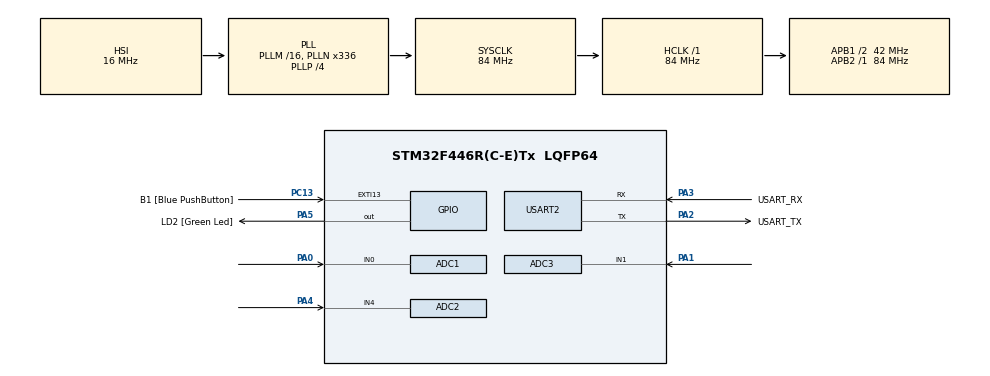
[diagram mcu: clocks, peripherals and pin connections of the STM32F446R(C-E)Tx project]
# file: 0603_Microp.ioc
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Mcu.Family=STM32F4
PH0-OSC_IN.Signal=RCC_OSC_IN
RCC.CortexFreq_Value=84000000
ADC2.Channel-0\#ChannelRegularConversion=ADC_CHANNEL_4
PA14.GPIO_Label=TCK
PC13.GPIO_Label=B1 [Blue PushButton]
ADC3.Channel-0\#ChannelRegularConversion=ADC_CHANNEL_1
RCC.SYSCLKSource=RCC_SYSCLKSOURCE_PLLCLK
ProjectManager.StackSize=0x400
RCC.HCLKFreq_Value=84000000
RCC.APB2TimFreq_Value=84000000
RCC.AHBFreq_Value=84000000
PH0-OSC_IN.Mode=HSE-External-Oscillator
NVIC.EXTI15_10_IRQn=true\:0\:0\:false\:false\:true\:true\:true
ADC1.Channel-0\#ChannelRegularConversion=ADC_CHANNEL_0
RCC.HSE_VALUE=8000000
EdgeImpulse.accelerometer.1.0.12.MachineLearningCcaccelerometerJjCore=true
PC14-OSC32_IN.Mode=LSE-External-Oscillator
PA14.Mode=Serial_Wire
SH.ADCx_IN0.0=ADC1_IN0,IN0
ADC1.SamplingTime-0\#ChannelRegularConversion=ADC_SAMPLETIME_3CYCLES
RCC.FLatency-AdvancedSettings=FLASH_LATENCY_2
PH1-OSC_OUT.Mode=HSE-External-Oscillator
Mcu.Package=LQFP64
USART2.VirtualMode=VM_ASYNC
PA2.GPIO_Label=USART_TX
ADC3.Rank-0\#ChannelRegularConversion=1
ADC2.SamplingTime-0\#ChannelRegularConversion=ADC_SAMPLETIME_3CYCLES
SH.ADCx_IN1.0=ADC3_IN1,IN1
RCC.APB1TimFreq_Value=84000000
ADC2.Rank-0\#ChannelRegularConversion=1
PA3.Signal=USART2_RX
PB3.GPIO_Label=SWO
PC15-OSC32_OUT.Mode=LSE-External-Oscillator
ADC1.Rank-0\#ChannelRegularConversion=1
PC13.Signal=GPXTI13
RCC.APB1CLKDivider=RCC_HCLK_DIV2
PC14-OSC32_IN.Signal=RCC_OSC32_IN
PA0-WKUP.Signal=ADCx_IN0
PA13.Signal=SYS_JTMS-SWDIO
PA3.Mode=Asynchronous
ADC3.SamplingTime-0\#ChannelRegularConversion=ADC_SAMPLETIME_3CYCLES
ProjectManager.TargetToolchain=STM32CubeIDE
RCC.USBFreq_Value=168000000
PC15-OSC32_OUT.Signal=RCC_OSC32_OUT
PA1.Signal=ADCx_IN1
PA5.Signal=GPIO_Output
board=NUCLEO-F446RE
RCC.VCOOutputFreq_Value=336000000
RCC.APB2Freq_Value=84000000
PH1-OSC_OUT.Signal=RCC_OSC_OUT
SH.ADCx_IN4.0=ADC2_IN4,IN4
PA13.Mode=Serial_Wire
Mcu.Name=STM32F446R(C-E)Tx
PA13.GPIO_Label=TMS
PA2.Signal=USART2_TX
RCC.48MHZClocksFreq_Value=84000000
PB3.Signal=SYS_JTDO-SWO
PA4.Signal=ADCx_IN4
RCC.SYSCLKFreq_VALUE=84000000
ADC1.master=1
PA5.GPIO_Label=LD2 [Green Led]
ADC2.NbrOfConversionFlag=1
PC13.GPIO_ModeDefaultEXTI=GPIO_MODE_IT_FALLING
PA14.Signal=SYS_JTCK-SWCLK
ProjectManager.HeapSize=0x200
RCC.HSI_VALUE=16000000
RCC.PLLP=RCC_PLLP_DIV4
NVIC.PriorityGroup=NVIC_PRIORITYGROUP_0
ADC1.NbrOfConversionFlag=1
RCC.PLLN=336
PA2.Mode=Asynchronous
VP_EdgeImpulse.accelerometer_VS_accelerometerJjMachineLearning_1.0.12_1.0.12.Mode=accelerometerJjMachineLearning
RCC.APB1Freq_Value=42000000
ADC3.NbrOfConversionFlag=1
VP_CRC_VS_CRC.Mode=CRC_Activate
PA3.GPIO_Label=USART_RX

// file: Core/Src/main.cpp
/* USER CODE BEGIN Header */
/**
  ******************************************************************************
  * @file           : main.c
  * @brief          : Main program body
  ******************************************************************************
  * @attention
  *
  * <h2><center>&copy; Copyright (c) 2021 STMicroelectronics.
  * All rights reserved.</center></h2>
  *
  * This software component is licensed by ST under BSD 3-Clause license,
  * the "License"; You may not use this file except in compliance with the
  * License. You may obtain a copy of the License at:
  *                        opensource.org/licenses/BSD-3-Clause
  *
  ******************************************************************************
  */
/* USER CODE END Header */
#include "main.h"

/* USER CODE BEGIN Includes */
#include <stdio.h>
#include <string.h>
#include <stdarg.h>
#include "edge-impulse-sdk/classifier/ei_run_classifier.h"

using namespace ei;

static float features[33] = {0}; //declare feature container[0:32] to store rawX,rawY,rawZ

int get_feature_data(size_t offset, size_t length, float *out_ptr) {
    memcpy(out_ptr, features + offset, length * sizeof(float)); //out_ptr is destination, feature+offset is source, size
    return 0;
}
/* USER CODE END Includes */

ADC_HandleTypeDef hadc1;
ADC_HandleTypeDef hadc2;
ADC_HandleTypeDef hadc3;

CRC_HandleTypeDef hcrc;

UART_HandleTypeDef huart2;

void SystemClock_Config(void);
static void MX_GPIO_Init(void);
static void MX_USART2_UART_Init(void);
static void MX_ADC1_Init(void);
static void MX_ADC2_Init(void);
static void MX_ADC3_Init(void);
static void MX_CRC_Init(void);

/* USER CODE BEGIN 0 */
void vprint(const char *fmt, va_list argp)
{
    char string[200];
    if(0 < vsprintf(string, fmt, argp)) // build string
    {
        HAL_UART_Transmit(&huart2, (uint8_t*)string, strlen(string), 0xffffff); // send message via UART
    }
}

void ei_printf(const char *format, ...) {
    va_list myargs;
    va_start(myargs, format);
    vprint(format, myargs);
    va_end(myargs);
}
/* USER CODE END 0 */

int main(void)
{
  /* USER CODE BEGIN 1 */
	char msg[100]; //to store message to be transfered through UART
	float rawX, rawY, rawZ; //3 axis raw data
  /* USER CODE END 1 */

  /* MCU Configuration--------------------------------------------------------*/

  /* Reset of all peripherals, Initializes the Flash interface and the Systick. */
  HAL_Init();

  /* USER CODE BEGIN Init */
  signal_t signal; //construct a struc signal_t
  signal.total_length = sizeof(features) / sizeof(features[0]); //feature length
  signal.get_data = &get_feature_data;
  /* USER CODE END Init */

  /* Configure the system clock */
  SystemClock_Config();

  /* Initialize all configured peripherals */
  MX_GPIO_Init();
  MX_USART2_UART_Init();
  MX_ADC1_Init();
  MX_ADC2_Init();
  MX_ADC3_Init();
  MX_CRC_Init();

  /* Infinite loop */
  while (1)
  {

    /* USER CODE BEGIN 3 */
///*
	    int i; //features[i] iterator
	  	char highest_cat[100]=""; //store the name of highest confidence class name
	  	float highest=0;  //store highest confidence class's score

	  	if (HAL_GPIO_ReadPin(GPIOA,GPIO_PIN_5)==GPIO_PIN_RESET){ //check user want to perform inferencing
	  	  	for(i=0; i<33;i+=3){ //collect features[0:32] through ADC if user wan to perform inferencing

	  	  	  	  			//Get ADC value
	  	  	  	  	  		HAL_ADC_Start(&hadc1);
	  	  	  	  	  		HAL_ADC_Start(&hadc3);
	  	  	  	  	  		HAL_ADC_Start(&hadc2);
	  	  	  	  	  		HAL_ADC_PollForConversion(&hadc1, HAL_MAX_DELAY);
	  	  	  	  	  		HAL_ADC_PollForConversion(&hadc3, HAL_MAX_DELAY);
	  	  	  	  	  		HAL_ADC_PollForConversion(&hadc2, HAL_MAX_DELAY);
	  	  	  	  	  		rawX = HAL_ADC_GetValue(&hadc1);
	  	  	  	  	  		rawY = HAL_ADC_GetValue(&hadc3);
	  	  	  	  	  		rawZ = HAL_ADC_GetValue(&hadc2);

	  	  	  	  	  		features[i]= rawX;
	  	  	  	  	  		features[i+1]= rawY;
	  	  	  	  	  		features[i+2]= rawZ;
	  	  	  	  	  		HAL_Delay(90.91); // 11Hz similar as frenquency of train data

	  	  	 }//end collecting raw data

	  	   ei_impulse_result_t result = { 0 }; //typedef is create aliase for cretain command; while  #if is determine this code will be compile if A is declared in #define eg: #ifdef A
	  	  	  	        EI_IMPULSE_ERROR res = run_classifier(&signal, &result, true);
//*/
	  	   /* Debug usage:
	  	   ei_printf("run_classifier returned: %d\n", res); //return 0 if no error?

	  	   ei_printf("Predictions (DSP: %d ms., Classification: %d ms., Anomaly: %d ms.): \n",
	  	       result.timing.dsp, result.timing.classification, result.timing.anomaly);

	  	  	// print the predictions
	  	  	//ei_printf("[");
	  	  	*/
///*
	  	  	for (size_t ix = 0; ix < EI_CLASSIFIER_LABEL_COUNT; ix++) { //size_t = maximum size container allocation; while it loop each classes

	  	  	//ei_printf_float(result.classification[ix].value); //confidente % , result class store all answer
	  	  	if (result.classification[ix].value>highest) { //get the highest confidence score and class name
	  	  	  	strcpy(highest_cat,result.classification[ix].label);
	  	  	  	highest=result.classification[ix].value;
	  	  	    //sprintf(msg, "\n\n Updated Result is\t\t%s\t\t\t\n",highest_cat);
	  	  	}

	  	  	#if EI_CLASSIFIER_HAS_ANOMALY == 1
	  	  	        //ei_printf(", ");
	  	  	#else
	  	  	        if (ix != EI_CLASSIFIER_LABEL_COUNT - 1) {
	  	  	              ei_printf(", ");
	  	  	        }
	  	  	#endif
	  	  	 	        }
	  	  	#if EI_CLASSIFIER_HAS_ANOMALY == 1
	  	  	       //ei_printf_float(result.anomaly);
	  	  	#endif
	  	  	       //ei_printf("]\n\n\n");

	  	  	//User LCD output result
	  	  	sprintf(msg, "\n\n\n\n\n ===================================================================================\n");
	  	  	HAL_UART_Transmit(&huart2, (uint8_t*)msg, strlen(msg), HAL_MAX_DELAY);
	  	  	sprintf(msg, "\n\n I am expressing:\t\t%s\t\t\t\n",highest_cat);
	  	  	HAL_UART_Transmit(&huart2, (uint8_t*)msg, strlen(msg), HAL_MAX_DELAY);
	  	  	sprintf(msg, "\n\n ===================================================================================\n");
	  	  	HAL_UART_Transmit(&huart2, (uint8_t*)msg, strlen(msg), HAL_MAX_DELAY);
	  	  	HAL_GPIO_WritePin(GPIOA,GPIO_PIN_5,GPIO_PIN_RESET);
	  	  	}

	  	  else { //if user do not wan to preform inferencing
	  	  	 sprintf(msg, "\n\n Press blue button and start your expression\n\n");
	  	  	 HAL_UART_Transmit(&huart2, (uint8_t*)msg, strlen(msg), HAL_MAX_DELAY);
	  	  	 }

	  	HAL_Delay(3000); //auto check in next 3s
//*/
/*
	  	  	  // For edge-impulse-data-forwarder train data purpose

	  	  	  	  		//Get ADC value
	  	  	  	  		HAL_ADC_Start(&hadc1);
	  	  	  	  		HAL_ADC_Start(&hadc3);
	  	  	  	  		HAL_ADC_Start(&hadc2);
	  	  	  	  		HAL_ADC_PollForConversion(&hadc1, HAL_MAX_DELAY);
	  	  	  	  		HAL_ADC_PollForConversion(&hadc3, HAL_MAX_DELAY);
	  	  	  	  		HAL_ADC_PollForConversion(&hadc2, HAL_MAX_DELAY);
	  	  	  	  		rawX = HAL_ADC_GetValue(&hadc1);
	  	  	  	  		rawY = HAL_ADC_GetValue(&hadc3);
	  	  	  	  		rawZ = HAL_ADC_GetValue(&hadc2);

	  	  	  	  		sprintf(msg, "%.2f,%.2f,%.2f\r\n", rawX, rawY, rawZ);

	  	  	  	  		HAL_UART_Transmit(&huart2, (uint8_t*)msg, strlen(msg), HAL_MAX_DELAY);

	  	  	  	  		HAL_Delay(90.91);
*/

	    } //end while(1) loop
  /* USER CODE END 3 */
}

void SystemClock_Config(void)
{
  RCC_OscInitTypeDef RCC_OscInitStruct = {0};
  RCC_ClkInitTypeDef RCC_ClkInitStruct = {0};

  /** Configure the main internal regulator output voltage
  */
  __HAL_RCC_PWR_CLK_ENABLE();
  __HAL_PWR_VOLTAGESCALING_CONFIG(PWR_REGULATOR_VOLTAGE_SCALE3);
  /** Initializes the RCC Oscillators according to the specified parameters
  * in the RCC_OscInitTypeDef structure.
  */
  RCC_OscInitStruct.OscillatorType = RCC_OSCILLATORTYPE_HSI;
  RCC_OscInitStruct.HSIState = RCC_HSI_ON;
  RCC_OscInitStruct.HSICalibrationValue = RCC_HSICALIBRATION_DEFAULT;
  RCC_OscInitStruct.PLL.PLLState = RCC_PLL_ON;
  RCC_OscInitStruct.PLL.PLLSource = RCC_PLLSOURCE_HSI;
  RCC_OscInitStruct.PLL.PLLM = 16;
  RCC_OscInitStruct.PLL.PLLN = 336;
  RCC_OscInitStruct.PLL.PLLP = RCC_PLLP_DIV4;
  RCC_OscInitStruct.PLL.PLLQ = 2;
  RCC_OscInitStruct.PLL.PLLR = 2;
  if (HAL_RCC_OscConfig(&RCC_OscInitStruct) != HAL_OK)
  {
    Error_Handler();
  }
  /** Initializes the CPU, AHB and APB buses clocks
  */
  RCC_ClkInitStruct.ClockType = RCC_CLOCKTYPE_HCLK|RCC_CLOCKTYPE_SYSCLK
                              |RCC_CLOCKTYPE_PCLK1|RCC_CLOCKTYPE_PCLK2;
  RCC_ClkInitStruct.SYSCLKSource = RCC_SYSCLKSOURCE_PLLCLK;
  RCC_ClkInitStruct.AHBCLKDivider = RCC_SYSCLK_DIV1;
  RCC_ClkInitStruct.APB1CLKDivider = RCC_HCLK_DIV2;
  RCC_ClkInitStruct.APB2CLKDivider = RCC_HCLK_DIV1;

  if (HAL_RCC_ClockConfig(&RCC_ClkInitStruct, FLASH_LATENCY_2) != HAL_OK)
  {
    Error_Handler();
  }
}

static void MX_ADC1_Init(void)
{

  ADC_ChannelConfTypeDef sConfig = {0};

  /** Configure the global features of the ADC (Clock, Resolution, Data Alignment and number of conversion)
  */
  hadc1.Instance = ADC1;
  hadc1.Init.ClockPrescaler = ADC_CLOCK_SYNC_PCLK_DIV4;
  hadc1.Init.Resolution = ADC_RESOLUTION_12B;
  hadc1.Init.ScanConvMode = DISABLE;
  hadc1.Init.ContinuousConvMode = DISABLE;
  hadc1.Init.DiscontinuousConvMode = DISABLE;
  hadc1.Init.ExternalTrigConvEdge = ADC_EXTERNALTRIGCONVEDGE_NONE;
  hadc1.Init.ExternalTrigConv = ADC_SOFTWARE_START;
  hadc1.Init.DataAlign = ADC_DATAALIGN_RIGHT;
  hadc1.Init.NbrOfConversion = 1;
  hadc1.Init.DMAContinuousRequests = DISABLE;
  hadc1.Init.EOCSelection = ADC_EOC_SINGLE_CONV;
  if (HAL_ADC_Init(&hadc1) != HAL_OK)
  {
    Error_Handler();
  }
  /** Configure for the selected ADC regular channel its corresponding rank in the sequencer and its sample time.
  */
  sConfig.Channel = ADC_CHANNEL_0;
  sConfig.Rank = 1;
  sConfig.SamplingTime = ADC_SAMPLETIME_3CYCLES;
  if (HAL_ADC_ConfigChannel(&hadc1, &sConfig) != HAL_OK)
  {
    Error_Handler();
  }

}

static void MX_ADC2_Init(void)
{

  ADC_ChannelConfTypeDef sConfig = {0};

  /** Configure the global features of the ADC (Clock, Resolution, Data Alignment and number of conversion)
  */
  hadc2.Instance = ADC2;
  hadc2.Init.ClockPrescaler = ADC_CLOCK_SYNC_PCLK_DIV4;
  hadc2.Init.Resolution = ADC_RESOLUTION_12B;
  hadc2.Init.ScanConvMode = DISABLE;
  hadc2.Init.ContinuousConvMode = DISABLE;
  hadc2.Init.DiscontinuousConvMode = DISABLE;
  hadc2.Init.ExternalTrigConvEdge = ADC_EXTERNALTRIGCONVEDGE_NONE;
  hadc2.Init.ExternalTrigConv = ADC_SOFTWARE_START;
  hadc2.Init.DataAlign = ADC_DATAALIGN_RIGHT;
  hadc2.Init.NbrOfConversion = 1;
  hadc2.Init.DMAContinuousRequests = DISABLE;
  hadc2.Init.EOCSelection = ADC_EOC_SINGLE_CONV;
  if (HAL_ADC_Init(&hadc2) != HAL_OK)
  {
    Error_Handler();
  }
  /** Configure for the selected ADC regular channel its corresponding rank in the sequencer and its sample time.
  */
  sConfig.Channel = ADC_CHANNEL_4;
  sConfig.Rank = 1;
  sConfig.SamplingTime = ADC_SAMPLETIME_3CYCLES;
  if (HAL_ADC_ConfigChannel(&hadc2, &sConfig) != HAL_OK)
  {
    Error_Handler();
  }

}

static void MX_ADC3_Init(void)
{

  ADC_ChannelConfTypeDef sConfig = {0};

  /** Configure the global features of the ADC (Clock, Resolution, Data Alignment and number of conversion)
  */
  hadc3.Instance = ADC3;
  hadc3.Init.ClockPrescaler = ADC_CLOCK_SYNC_PCLK_DIV4;
  hadc3.Init.Resolution = ADC_RESOLUTION_12B;
  hadc3.Init.ScanConvMode = DISABLE;
  hadc3.Init.ContinuousConvMode = DISABLE;
  hadc3.Init.DiscontinuousConvMode = DISABLE;
  hadc3.Init.ExternalTrigConvEdge = ADC_EXTERNALTRIGCONVEDGE_NONE;
  hadc3.Init.ExternalTrigConv = ADC_SOFTWARE_START;
  hadc3.Init.DataAlign = ADC_DATAALIGN_RIGHT;
  hadc3.Init.NbrOfConversion = 1;
  hadc3.Init.DMAContinuousRequests = DISABLE;
  hadc3.Init.EOCSelection = ADC_EOC_SINGLE_CONV;
  if (HAL_ADC_Init(&hadc3) != HAL_OK)
  {
    Error_Handler();
  }
  /** Configure for the selected ADC regular channel its corresponding rank in the sequencer and its sample time.
  */
  sConfig.Channel = ADC_CHANNEL_1;
  sConfig.Rank = 1;
  sConfig.SamplingTime = ADC_SAMPLETIME_3CYCLES;
  if (HAL_ADC_ConfigChannel(&hadc3, &sConfig) != HAL_OK)
  {
    Error_Handler();
  }

}

static void MX_CRC_Init(void)
{

  hcrc.Instance = CRC;
  if (HAL_CRC_Init(&hcrc) != HAL_OK)
  {
    Error_Handler();
  }

}

static void MX_USART2_UART_Init(void)
{

  huart2.Instance = USART2;
  huart2.Init.BaudRate = 115200;
  huart2.Init.WordLength = UART_WORDLENGTH_8B;
  huart2.Init.StopBits = UART_STOPBITS_1;
  huart2.Init.Parity = UART_PARITY_NONE;
  huart2.Init.Mode = UART_MODE_TX_RX;
  huart2.Init.HwFlowCtl = UART_HWCONTROL_NONE;
  huart2.Init.OverSampling = UART_OVERSAMPLING_16;
  if (HAL_UART_Init(&huart2) != HAL_OK)
  {
    Error_Handler();
  }

}

static void MX_GPIO_Init(void)
{
  GPIO_InitTypeDef GPIO_InitStruct = {0};

  /* GPIO Ports Clock Enable */
  __HAL_RCC_GPIOC_CLK_ENABLE();
  __HAL_RCC_GPIOH_CLK_ENABLE();
  __HAL_RCC_GPIOA_CLK_ENABLE();
  __HAL_RCC_GPIOB_CLK_ENABLE();

  /*Configure GPIO pin Output Level */
  HAL_GPIO_WritePin(LD2_GPIO_Port, LD2_Pin, GPIO_PIN_RESET);

  /*Configure GPIO pin : B1_Pin */
  GPIO_InitStruct.Pin = B1_Pin;
  GPIO_InitStruct.Mode = GPIO_MODE_IT_FALLING;
  GPIO_InitStruct.Pull = GPIO_NOPULL;
  HAL_GPIO_Init(B1_GPIO_Port, &GPIO_InitStruct);

  /*Configure GPIO pin : LD2_Pin */
  GPIO_InitStruct.Pin = LD2_Pin;
  GPIO_InitStruct.Mode = GPIO_MODE_OUTPUT_PP;
  GPIO_InitStruct.Pull = GPIO_NOPULL;
  GPIO_InitStruct.Speed = GPIO_SPEED_FREQ_LOW;
  HAL_GPIO_Init(LD2_GPIO_Port, &GPIO_InitStruct);

  /* EXTI interrupt init*/
  HAL_NVIC_SetPriority(EXTI15_10_IRQn, 0, 0);
  HAL_NVIC_EnableIRQ(EXTI15_10_IRQn);

}

void Error_Handler(void)
{
  __disable_irq();
  while (1)
  {
  }
}

/************************ (C) COPYRIGHT STMicroelectronics *****END OF FILE****/
